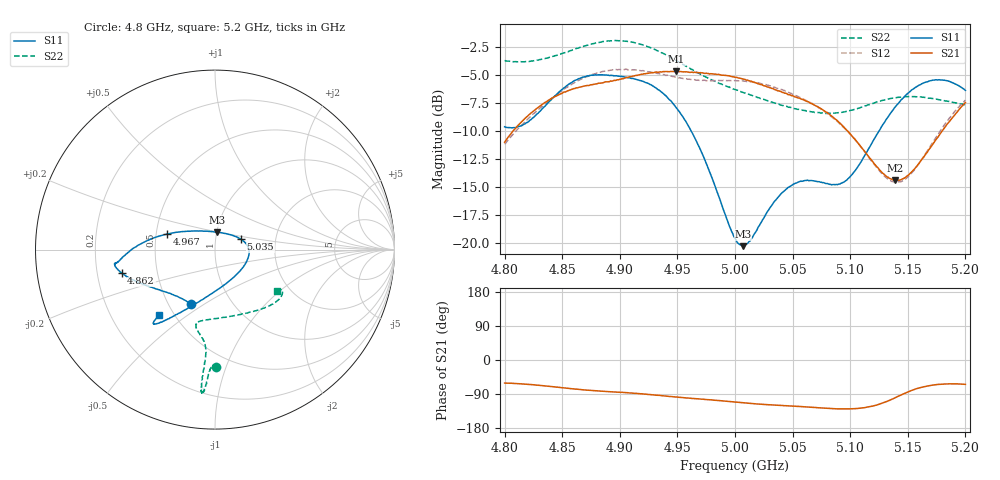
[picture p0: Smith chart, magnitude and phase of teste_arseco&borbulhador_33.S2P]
! Network Analyzer HP8722D
! Hewlett-Packard
! Data name: Linha & Wilkinson
! Saver's name: Rodrigo Anjos
! Comments: Teste da utilização de aquisição
! continua pelo VNA HP8722D
! Time and date: 15/4/2025 15:54
!  Frequency  S11  S21  S12  S22
# HZ  S  MA R 50
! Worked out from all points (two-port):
!   401 points, 4.8 GHz to 5.2 GHz, reference 50 ohm
!   highest |S21| = -4.65 dB at 4.949 GHz (marker M1); lowest = -14.4 dB at 5.139 GHz (marker M2)
!   |S21| within 3 dB of the highest: 4.832 GHz to 5.069 GHz (236.9 MHz wide, 4.78 % of centre); 5.198169 GHz to end of sweep
!   lowest |S11| = -20.2 dB at 5.007 GHz (marker M3), VSWR 1.22, Z = 50.4 + j9.8 ohm
!   |S11| at or under -10 dB: 4.962 GHz to 5.125 GHz (162.7 MHz wide, 3.23 % of centre)
!   |S22| runs from -8.4 to -1.9 dB; largest |S21 - S12| = 0.88
!   S11 on the Smith chart (normalised r, x): 4.8 GHz: 0.64, -0.44; 4.862 GHz: 0.31, -0.11; 4.967 GHz: 0.57, +0.11; 5.035 GHz: 1.33, +0.16; 5.2 GHz: 0.41, -0.39
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4.8e9  0.3317 -114.0  0.2831 -60.9  0.2774 -175.2  0.6544 -89.5
4.819e9  0.3459 -133.8  0.3661 -63.9  0.354 -173.4  0.6488 -91.2
4.862e9  0.5362 -165.9  0.4945 -76.8  0.5274 -176.7  0.7406 -93.6
4.867e9  0.5496 -167.8  0.5006 -78.5  0.5425 -177.7  0.7543 -93.8
4.898e9  0.5579 -172.2  0.5376 -84.8  0.5952 175.9  0.8035 -95.1
4.934e9  0.4835 -178.2  0.5809 -93.5  0.5729 171.9  0.718 -95.7
4.949e9  0.4032 174.6  0.5857 -97.4  0.5534 172.2  0.6549 -95.3
4.967e9  0.2825 162.2  0.5789 -102.3  0.5351 173.8  0.5788 -95.1
5e9  0.1057 106.2  0.5509 -111.1  0.5339 176.3  0.4858 -99.3
5.007e9  0.09725 82.2  0.5412 -112.8  0.5314 176.2  0.4718 -100.9
5.014e9  0.1045 60.1  0.5297 -114.7  0.5255 176.1  0.4588 -102.6
5.035e9  0.1554 22.1  0.4847 -119.1  0.4962 175.0  0.4226 -103.8
5.05e9  0.1828 6.4  0.4568 -121.9  0.4629 174.3  0.4029 -100.2
5.067e9  0.1907 -12.0  0.4194 -124.8  0.4217 173.9  0.3858 -91.6
5.086e9  0.1832 -42.3  0.3627 -128.4  0.3599 173.7  0.3814 -77.6
5.097e9  0.1916 -65.5  0.3201 -129.1  0.3201 174.5  0.3886 -68.3
5.134e9  0.3744 -116.4  0.1953 -106.5  0.1914 -159.5  0.4423 -43.4
5.139e9  0.4062 -119.4  0.1912 -99.6  0.1879 -151.5  0.447 -41.1
5.151e9  0.4718 -124.4  0.2029 -83.2  0.2003 -132.6  0.4521 -36.7
5.17e9  0.5327 -128.8  0.2693 -66.9  0.2741 -113.1  0.4444 -32.1
5.184e9  0.5321 -130.2  0.3399 -63.1  0.3503 -107.4  0.4315 -31.2
5.2e9  0.4816 -130.6  0.4249 -64.2  0.4359 -106.3  0.4153 -33.5
